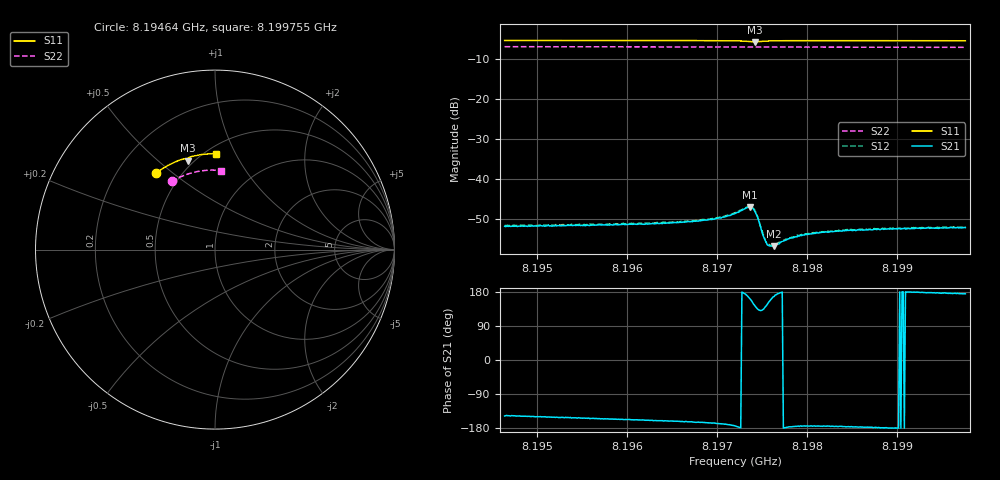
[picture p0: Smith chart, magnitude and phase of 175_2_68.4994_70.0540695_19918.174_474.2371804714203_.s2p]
#  HZ  S  RI  R  50.00
! Rohde & Schwarz Vector Network Analyzer
! Rohde-Schwarz,ZNB20-2Port,1311601062101988,3.16
! Created: UTC 3/20/2024, 5:11:36 PM
! freq[Hz]  re:S11  im:S11  re:S21  im:S21  re:S12  im:S12  re:S22  im:S22
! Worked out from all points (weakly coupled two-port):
!   401 points, 8.19464 GHz to 8.199755 GHz, reference 50 ohm
!   highest |S21| = -46.92 dB at 8.197364 GHz (marker M1); lowest = -56.6 dB at 8.197632 GHz (marker M2)
!   lowest |S11| = -5.7 dB at 8.197415 GHz (marker M3), VSWR 3.14, Z = 23.3 + j31.5 ohm
!   |S11| at or under -10 dB: nowhere
!   |S22| runs from -7.1 to -6.9 dB; largest |S21 - S12| = 0.00022
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8.1946402e9  -0.3293 0.4255  -0.0022 -0.00139  -0.00226 -0.0014  -0.2411 0.3803
8.1954969e9  -0.2789 0.4594  -0.00239 -0.00119  -0.00252 -0.00115  -0.1986 0.4026
8.1963537e9  -0.2245 0.4872  -0.00265 -0.000948  -0.00278 -0.000873  -0.1538 0.4201
8.1965838e9  -0.2092 0.4938  -0.00276 -0.000898  -0.00285 -0.000812  -0.1414 0.4242
8.1968907e9  -0.1876 0.5015  -0.00302 -0.000773  -0.00308 -0.000691  -0.1248 0.4289
8.1970698e9  -0.174 0.5054  -0.00334 -0.000659  -0.00339 -0.000532  -0.1151 0.4313
8.1971976e9  -0.163 0.5069  -0.00372 -0.000406  -0.00384 -0.000256  -0.1079 0.4328
8.1973127e9  -0.1518 0.5045  -0.00432 0.000449  -0.00436 0.000661  -0.1014 0.4339
8.1973639e9  -0.1483 0.4998  -0.00427 0.00143  -0.00428 0.00164  -0.0986 0.4345
8.1973894e9  -0.1486 0.4968  -0.00392 0.00199  -0.00392 0.0022  -0.0973 0.4346
8.197415e9  -0.1506 0.4949  -0.00329 0.00237  -0.00329 0.00255  -0.096 0.4348
8.1974406e9  -0.1535 0.4949  -0.00256 0.00245  -0.00255 0.0026  -0.0946 0.435
8.1975045e9  -0.1564 0.5013  -0.0014 0.00152  -0.00139 0.00167  -0.0912 0.4358
8.1975429e9  -0.1547 0.5055  -0.00132 0.00101  -0.00125 0.00107  -0.0891 0.4365
8.1975813e9  -0.1518 0.5087  -0.00135 0.000619  -0.00137 0.000706  -0.0871 0.4367
8.1976324e9  -0.1477 0.5115  -0.00144 0.000312  -0.00147 0.000337  -0.0841 0.4373
8.1977986e9  -0.1344 0.5173  -0.00182 -0.00012  -0.00186 -5.58e-06  -0.0748 0.4389
8.1979009e9  -0.1265 0.5196  -0.00197 -0.000195  -0.00199 -0.000104  -0.0689 0.4396
8.1980544e9  -0.1153 0.5223  -0.0021 -0.000192  -0.00215 -0.00018  -0.0604 0.4405
8.1984636e9  -0.0858 0.5277  -0.00231 -0.000167  -0.00234 -8.47e-05  -0.0372 0.4424
8.1989111e9  -0.0539 0.5315  -0.0024 -1.43e-05  -0.00244 6.57e-05  -0.0118 0.4429
8.1997551e9  0.006 0.5333  -0.00249 0.000233  -0.0025 0.000345  0.0361 0.4401
